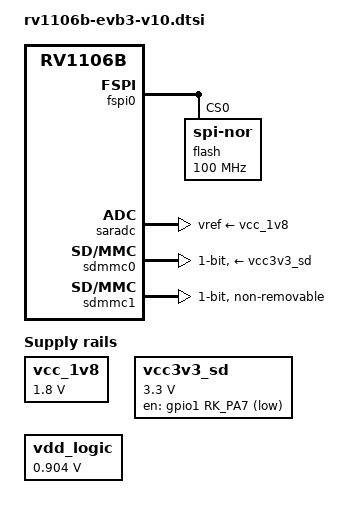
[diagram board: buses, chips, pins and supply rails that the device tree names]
// SPDX-License-Identifier: (GPL-2.0+ OR MIT)
/*
 * Copyright (c) 2026 Rockchip Electronics Co., Ltd.
 */

#include "rv1106b-evb.dtsi"

/ {
	sdio_pwrseq: sdio-pwrseq {
		compatible = "mmc-pwrseq-simple";
		pinctrl-names = "default";
		pinctrl-0 = <&wifi_enable_h>;

		/*
		 * On the module itself this is one of these (depending
		 * on the actual card populated):
		 * - SDIO_RESET_L_WL_REG_ON
		 * - PDN (power down when low)
		 */
		post-power-on-delay-ms = <300>;
		reset-gpios = <&gpio2 RK_PA0 GPIO_ACTIVE_HIGH>;
		status = "disabled";
	};

	vcc_1v8: vcc-1v8 {
		compatible = "regulator-fixed";
		regulator-name = "vcc_1v8";
		regulator-always-on;
		regulator-boot-on;
		regulator-min-microvolt = <1800000>;
		regulator-max-microvolt = <1800000>;
	};

	vcc3v3_sd: vcc3v3-sd {
		compatible = "regulator-fixed";
		gpio = <&gpio1 RK_PA7 GPIO_ACTIVE_LOW>;
		regulator-name = "vcc3v3_sd";
		regulator-min-microvolt = <3300000>;
		regulator-max-microvolt = <3300000>;
		pinctrl-names = "default";
		pinctrl-0 = <&sdmmc_pwren>;
	};

	vdd_logic: vdd_arm_npu: vdd-arm-npu {
		compatible = "regulator-fixed";
		regulator-name = "vdd_arm_npu";
		regulator-always-on;
		regulator-boot-on;
		regulator-min-microvolt = <904000>;
		regulator-max-microvolt = <904000>;
	};
};

&acodec {
	pa-ctl-gpios = <&gpio2 RK_PB2 GPIO_ACTIVE_HIGH>;
};

&cpu0 {
	cpu-supply = <&vdd_arm_npu>;
};

&npu {
	rknpu-supply = <&vdd_arm_npu>;
};

&fspi0 {
	status = "okay";
	flash@0 {
		compatible = "jedec,spi-nor";
		reg = <0>;
		spi-max-frequency = <100000000>;
		spi-rx-bus-width = <4>;
		spi-tx-bus-width = <1>;
	};
};

&pinctrl {
	sdmmc {
		/omit-if-no-ref/
		sdmmc_pwren: sdmmc-pwren {
			rockchip,pins = <1 RK_PA7 RK_FUNC_GPIO &pcfg_pull_none>;
		};
	};

	sdio-pwrseq {
		/omit-if-no-ref/
		wifi_enable_h: wifi-enable-h {
			rockchip,pins = <2 RK_PA0 RK_FUNC_GPIO &pcfg_pull_none>;
		};
	};
};

&saradc {
	vref-supply = <&vcc_1v8>;
	status = "okay";
};

&sdmmc0 {
	bus-width = <1>;
	cap-mmc-highspeed;
	cap-sd-highspeed;
	disable-wp;
	no-sdio;
	no-mmc;
	pinctrl-names = "normal", "idle";
	pinctrl-0 = <&sdmmc0_det_pins
		     &sdmmc0_clk_pins
		     &sdmmc0_cmd_pins
		     &sdmmc0_bus1_pins>;
	pinctrl-1 = <&sdmmc0_det_pins
		     &sdmmc0_clk_idle_pins
		     &sdmmc0_cmd_idle_pins
		     &sdmmc0_bus1_idle_pins>;
	vmmc-supply = <&vcc3v3_sd>;
	status = "okay";
};

&sdmmc1 {
	bus-width = <1>;
	cap-sd-highspeed;
	cap-sdio-irq;
	keep-power-in-suspend;
	//mmc-pwrseq = <&sdio_pwrseq>;
	non-removable;
	no-sd;
	no-mmc;
	pinctrl-names = "default";
	pinctrl-0 = <&sdmmc1_clk_pins &sdmmc1_cmd_pins &sdmmc1_bus1_pins>;
	status = "okay";
};

&uart0 {
	pinctrl-0 = <&uart0m2_xfer_pins>;
};
